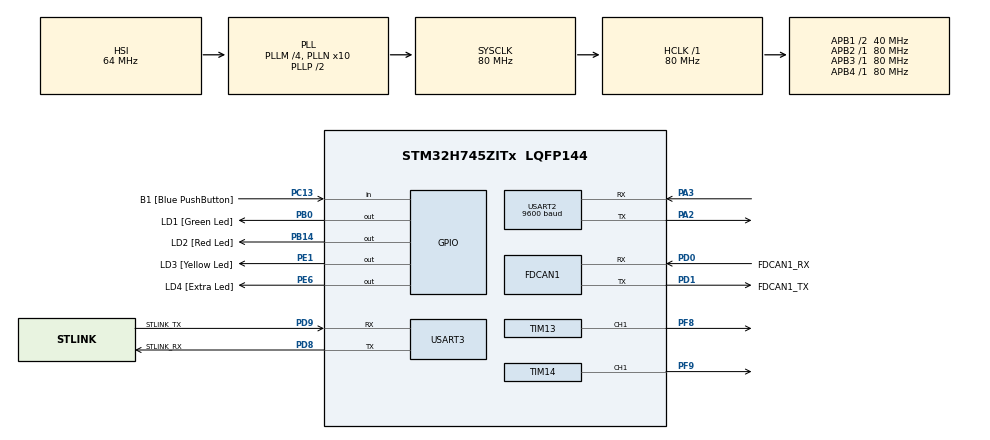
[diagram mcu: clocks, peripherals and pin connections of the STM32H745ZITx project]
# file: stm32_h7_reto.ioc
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CortexM4.IPs=BDMA,CORTEX_M4\:I,DEBUG,DMA,FATFS_M4\:I,FREERTOS_M4\:I,GPIO,IWDG2\:I,MDMA,NVIC2\:I,OPENAMP_M4\:I,PDM2PCM_M4\:I,PWR,RCC,RESMGR_UTILITY,SYS_M4\:I,USB_DEVICE_M4\:I,USB_HOST_M4\:I,VREFBUF,WWDG2\:I,USART3,TIM6\:I
CortexM4.Pins=PE1
CortexM7.IPs=BDMA\:I,CORTEX_M7\:I,DEBUG\:I,DMA\:I,FATFS_M7\:I,FREERTOS_M7\:I,GPIO\:I,IWDG1\:I,MDMA\:I,NVIC1\:I,OPENAMP_M7\:I,PDM2PCM_M7\:I,PWR\:I,RCC\:I,RESMGR_UTILITY\:I,SYS\:I,USB_DEVICE_M7\:I,USB_HOST_M7\:I,VREFBUF\:I,WWDG1\:I,USART3\:I,FDCAN1\:I,MEMORYMAP\:I,TIM13\:I,TIM14\:I,USART2\:I,TIM7\:I
CortexM7.Pins=PE6,PC13,PB0,PB14
FDCAN1.CalculateBaudRateNominal=500000
FDCAN1.CalculateTimeBitNominal=2000
FDCAN1.CalculateTimeQuantumNominal=50.0
FDCAN1.Mode=FDCAN_MODE_NORMAL
FDCAN1.NominalPrescaler=2
FDCAN1.NominalSyncJumpWidth=8
FDCAN1.NominalTimeSeg1=0x1F
FDCAN1.NominalTimeSeg2=8
FDCAN1.ProtocolException=ENABLE
FDCAN1.RxFifo0ElmtsNbr=50
FDCAN1.StdFiltersNbr=1
FDCAN1.TxFifoQueueElmtsNbr=1
FREERTOS_M4.Tasks01=defaultTask,24,128,StartDefaultTask,Default,NULL,Dynamic,NULL,NULL
FREERTOS_M4.configUSE_NEWLIB_REENTRANT=1
FREERTOS_M7.Tasks01=defaultTask,24,128,StartDefaultTask,Default,NULL,Dynamic,NULL,NULL
FREERTOS_M7.configUSE_NEWLIB_REENTRANT=1
Mcu.Family=STM32H7
Mcu.Name=STM32H745ZITx
Mcu.Package=LQFP144
NVIC1.PriorityGroup=NVIC_PRIORITYGROUP_4
NVIC1.TIM7_IRQn=true\:15\:0\:false\:false\:true\:false\:false\:true\:true
NVIC1.TimeBase=TIM7_IRQn
NVIC1.TimeBaseIP=TIM7
NVIC1.USART2_IRQn=true\:5\:0\:false\:false\:true\:true\:true\:true\:true
NVIC1.USART3_IRQn=true\:5\:0\:false\:false\:true\:true\:true\:true\:true
NVIC2.PriorityGroup=NVIC_PRIORITYGROUP_4
NVIC2.TIM6_DAC_IRQn=true\:15\:0\:false\:false\:true\:false\:false\:true\:true
NVIC2.TimeBase=TIM6_DAC_IRQn
NVIC2.TimeBaseIP=TIM6
PA13\ (JTMS/SWDIO).Mode=Serial_Wire
PA13\ (JTMS/SWDIO).PinAttribute=CortexM7
PA13\ (JTMS/SWDIO).Signal=DEBUG_JTMS-SWDIO
PA14\ (JTCK/SWCLK).Mode=Serial_Wire
PA14\ (JTCK/SWCLK).PinAttribute=CortexM7
PA14\ (JTCK/SWCLK).Signal=DEBUG_JTCK-SWCLK
PA2.Mode=Asynchronous
PA2.PinAttribute=CortexM7
PA2.Signal=USART2_TX
PA3.Mode=Asynchronous
PA3.PinAttribute=CortexM7
PA3.Signal=USART2_RX
PB0.GPIO_Label=LD1 [Green Led]
PB0.PinAttribute=CortexM7
PB0.Signal=GPIO_Output
PB14.GPIO_Label=LD2 [Red Led]
PB14.PinAttribute=CortexM7
PB14.Signal=GPIO_Output
PC13.GPIO_Label=B1 [Blue PushButton]
PC13.PinAttribute=CortexM7
PC13.Signal=GPIO_Input
PC14-OSC32_IN\ (OSC32_IN).Mode=LSE-External-Oscillator
PC14-OSC32_IN\ (OSC32_IN).PinAttribute=CortexM7
PC14-OSC32_IN\ (OSC32_IN).Signal=RCC_OSC32_IN
PC15-OSC32_OUT\ (OSC32_OUT).Mode=LSE-External-Oscillator
PC15-OSC32_OUT\ (OSC32_OUT).PinAttribute=CortexM7
PC15-OSC32_OUT\ (OSC32_OUT).Signal=RCC_OSC32_OUT
PD0.GPIO_Label=FDCAN1_RX
PD0.GPIO_Speed=GPIO_SPEED_FREQ_VERY_HIGH
PD0.Mode=FDCAN_Activate
PD0.PinAttribute=CortexM7
PD0.Signal=FDCAN1_RX
PD1.GPIO_Label=FDCAN1_TX
PD1.GPIO_PuPd=GPIO_PULLUP
PD1.GPIO_Speed=GPIO_SPEED_FREQ_VERY_HIGH
PD1.Mode=FDCAN_Activate
PD1.PinAttribute=CortexM7
PD1.Signal=FDCAN1_TX
PD8.GPIO_Label=STLINK_RX
PD8.Mode=Asynchronous
PD8.PinAttribute=CortexM7
PD8.Signal=USART3_TX
PD9.GPIO_Label=STLINK_TX
PD9.Mode=Asynchronous
PD9.PinAttribute=CortexM7
PD9.Signal=USART3_RX
PE1.GPIO_Label=LD3 [Yellow Led]
PE1.PinAttribute=CortexM4
PE1.Signal=GPIO_Output
PE6.GPIO_Label=LD4 [Extra Led]
PE6.PinAttribute=CortexM7
PE6.Signal=GPIO_Output
PF8.PinAttribute=CortexM7
PF8.Signal=S_TIM13_CH1
PF9.PinAttribute=CortexM7
PF9.Signal=S_TIM14_CH1
PH0-OSC_IN\ (PH0).Mode=HSE-External-Clock-Source
PH0-OSC_IN\ (PH0).PinAttribute=CortexM7
PH0-OSC_IN\ (PH0).Signal=RCC_OSC_IN
ProjectManager.HeapSize=M4-0x200,M7-0x200
ProjectManager.StackSize=M4-0x400,M7-0x400
ProjectManager.TargetToolchain=STM32CubeIDE
RCC.ADCFreq_Value=72000000
RCC.APB1Freq_Value=40000000
RCC.APB2Freq_Value=80000000
RCC.APB3Freq_Value=80000000
RCC.APB4Freq_Value=80000000
RCC.CortexFreq_Value=80000000
RCC.D2PPRE1=RCC_APB1_DIV2
RCC.DIVM1=4
RCC.DIVM2=4
RCC.DIVN1=10
RCC.DIVN2=9
RCC.DIVQ1=4
RCC.HCLKFreq_Value=80000000
RCC.HSE_VALUE=8000000
RCC.PLLFRACN=0
RCC.SYSCLKFreq_VALUE=80000000
RCC.SYSCLKSource=RCC_SYSCLKSOURCE_PLLCLK
RCC.SupplySource=PWR_DIRECT_SMPS_SUPPLY
RCC.USBFreq_Value=40000000
SH.S_TIM13_CH1.0=TIM13_CH1,PWM Generation1 CH1
SH.S_TIM14_CH1.0=TIM14_CH1,PWM Generation1 CH1
SYS.userName=SYS_M7
TIM13.Channel=TIM_CHANNEL_1
TIM13.Period=19999
TIM13.Prescaler=79
TIM13.Pulse=1500
TIM14.Channel=TIM_CHANNEL_1
TIM14.Period=19999
TIM14.Prescaler=79
TIM14.Pulse=1500
USART2.BaudRate=9600
USART2.VirtualMode-Asynchronous=VM_ASYNC
USART3.VirtualMode-Asynchronous=VM_ASYNC
VP_FREERTOS_M4_VS_CMSIS_V2.Mode=CMSIS_V2
VP_FREERTOS_M7_VS_CMSIS_V2.Mode=CMSIS_V2
VP_MEMORYMAP_VS_MEMORYMAP.Mode=CurAppReg
VP_SYS_M4_VS_tim6.Mode=TIM6
VP_SYS_VS_tim7.Mode=TIM7
VP_TIM13_VS_ClockSourceINT.Mode=Enable_Timer
VP_TIM14_VS_ClockSourceINT.Mode=Enable_Timer
board=custom

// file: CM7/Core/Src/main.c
/* USER CODE BEGIN Header */
/**
  ******************************************************************************
  * @file           : main.c
  * @brief          : Main program body
  ******************************************************************************
  * @attention
  *
  * Copyright (c) 2025 STMicroelectronics.
  * All rights reserved.
  *
  * This software is licensed under terms that can be found in the LICENSE file
  * in the root directory of this software component.
  * If no LICENSE file comes with this software, it is provided AS-IS.
  *
  ******************************************************************************
  */
/* USER CODE END Header */
#include "main.h"
#include "cmsis_os.h"
#include "robot_types.h"
#include "can.h"
#include "sensors.h"
#include "actuators.h"

/* USER CODE BEGIN Includes */
#include "myprintf.h"
#include <stdbool.h>
#include <string.h>
#include <ctype.h>
#include <stdlib.h>   // strtod
#include <errno.h>    // errno, ERANGE
#include <math.h>     // isfinite
#include <stdint.h>
/* USER CODE END Includes */

/* USER CODE BEGIN PD */

/* DUAL_CORE_BOOT_SYNC_SEQUENCE: Define for dual core boot synchronization    */
/*                             demonstration code based on hardware semaphore */
/* This define is present in both CM7/CM4 projects                            */
/* To comment when developping/debugging on a single core                     */
#define DUAL_CORE_BOOT_SYNC_SEQUENCE

#if defined(DUAL_CORE_BOOT_SYNC_SEQUENCE)
#ifndef HSEM_ID_0
#define HSEM_ID_0 (0U) /* HW semaphore 0*/
#endif
#endif /* DUAL_CORE_BOOT_SYNC_SEQUENCE */

/* USER CODE END PD */

FDCAN_HandleTypeDef hfdcan1;

TIM_HandleTypeDef htim13;
TIM_HandleTypeDef htim14;

UART_HandleTypeDef huart2;
UART_HandleTypeDef huart3;

/* Definitions for defaultTask */
osThreadId_t defaultTaskHandle;
const osThreadAttr_t defaultTask_attributes = {
  .name = "defaultTask",
  .stack_size = 1024 * 4,
  .priority = (osPriority_t) osPriorityNormal,
};
/* USER CODE BEGIN PV */
ControlMode currentMode = MODE_MANUAL;  // Default to manual
FDCAN_FilterTypeDef sFilterConfig;
FDCAN_TxHeaderTypeDef TxHeader;
FDCAN_RxHeaderTypeDef RxHeader;
uint8_t TxData[8] = {0x10, 0x34, 0x54, 0x76, 0x98, 0x00, 0x11, 0x22};
uint8_t RxData[8];

// Storage for latest CAN messages by ID
CANMessage latestMsgs[] = {
    {.id = 0x123, .length = 0, .timestamp = 0, .isExtended = false},  // Encoder
    {.id = 0x124, .length = 0, .timestamp = 0, .isExtended = false},  // Orientation
    {.id = 0x125, .length = 0, .timestamp = 0, .isExtended = false},  // Motor Control
    {.id = 0x126, .length = 0, .timestamp = 0, .isExtended = false},  // Angular Velocity
	{.id = 0x127, .length = 0, .timestamp = 0, .isExtended = false},   // Linear Acceleration
    {.id = 0x128, .length = 0, .timestamp = 0, .isExtended = false},   // Pseudo-GPS
    {.id = 0x129, .length = 0, .timestamp = 0, .isExtended = false}   // Waypoint2D
};
const uint8_t NUM_CAN_IDS = sizeof(latestMsgs) / sizeof(latestMsgs[0]);
/* USER CODE END PV */

void SystemClock_Config(void);
static void MX_GPIO_Init(void);
static void MX_USART3_UART_Init(void);
static void MX_FDCAN1_Init(void);
static void MX_TIM13_Init(void);
static void MX_TIM14_Init(void);
static void MX_USART2_UART_Init(void);
void StartDefaultTask(void *argument);

/* USER CODE BEGIN 0 */
void debugLoop() {
	float dbg_spd = 0.5f;
	float dbg_str = 0.0f;

	while (1) {
		SetEscSpeed(dbg_spd);
		Turning_SetAngle(dbg_str);
		StopCarEsc();
	}
}

// HELPERS
float unwrapAngle(float wrappedAngle) {
    static float unwrappedValue = 0.0f;
    static bool initialized = false;

    if (!initialized) {
        // First call - initialize with current angle
        unwrappedValue = wrappedAngle;
        initialized = true;
        return unwrappedValue;
    }

    // Calculate previous wrapped equivalent
    float wrappedPrev = fmodf(unwrappedValue, 360.0f);
    if (wrappedPrev < 0.0f) wrappedPrev += 360.0f;

    // Calculate delta with current reading
    float delta = wrappedAngle - wrappedPrev;

    // Normalize delta to [-180, 180]
    while (delta > 180.0f) delta -= 360.0f;
    while (delta < -180.0f) delta += 360.0f;

    // Update unwrapped value
    unwrappedValue += delta;

    return unwrappedValue;
}

void differentialToAckermann(float omega, bool reset, float* throttle, float* steering) {
    static int32_t baseEncoderPosition = 0;
    static bool movingForward = true;  // Current movement direction
    const int32_t danceAmplitude = 500;  // How far to move from baseline
    const float throttleStrength = 0.8f;  // Base throttle magnitude

    int32_t currentPosition = readEncoder();
    if (reset) {
        baseEncoderPosition = currentPosition;
        movingForward = true;  // Start by moving forward
    }

    int32_t delta = currentPosition - baseEncoderPosition;

    // Switch direction based on current position
    if (movingForward && delta >= danceAmplitude) {
        movingForward = false;
    } else if (!movingForward && delta <= -danceAmplitude) {
        movingForward = true;
    }

    // Set throttle based on direction
    *throttle = movingForward ? throttleStrength : -throttleStrength;
    *steering = movingForward ? omega : -omega;
}

void applyMotorControl(const MotorControl* control) {
    static bool differentialInitialized = false;

    if (control == NULL) return;

    float throttle, steering;

    // Check if omega is non-zero (use differential drive mode)
    if (control->omega != 0.0f) {
        // Use differential to Ackermann conversion
        differentialToAckermann(control->omega, !differentialInitialized, &throttle, &steering);
        differentialInitialized = true;
    } else {
        // Use direct steering and throttle commands
        throttle = control->throttle;
        steering = control->steering;
        differentialInitialized = false;  // Reset for next differential mode entry
    }

    // Apply to actuators
    Turning_SetAngle(steering);
    SetEscSpeed(throttle);
}

bool isWaypointReachable(float car_x, float car_y, float car_yaw, float wp_x, float wp_y) {
    // Calculate vector from car to waypoint
    float dx = wp_x - car_x;
    float dy = wp_y - car_y;

    // Calculate angle to waypoint in degrees
    float angle_to_waypoint = atan2f(dy, dx) * 180.0f / M_PI;

    // Normalize to 0-360 range
    while (angle_to_waypoint < 0) angle_to_waypoint += 360.0f;
    while (angle_to_waypoint >= 360.0f) angle_to_waypoint -= 360.0f;

    // Normalize car yaw to 0-360 range
    float car_yaw_norm = car_yaw;
    while (car_yaw_norm < 0) car_yaw_norm += 360.0f;
    while (car_yaw_norm >= 360.0f) car_yaw_norm -= 360.0f;

    // Calculate relative angle (-180 to +180)
    float relative_angle = angle_to_waypoint - car_yaw_norm;
    while (relative_angle > 180.0f) relative_angle -= 360.0f;
    while (relative_angle < -180.0f) relative_angle += 360.0f;

    // Check if within ±22.5° (front cone) or ±22.5° from 180° (back cone)
    bool front_reachable = (relative_angle >= -22.5f && relative_angle <= 22.5f);
    bool back_reachable = (relative_angle >= 157.5f || relative_angle <= -157.5f);

    return front_reachable || back_reachable;
}

MotorControl computeWaypointControl(const PseudoGPS* gps, const Waypoint2D* waypoint) {
    // Default: stopped
    MotorControl control = {0.0f, 0.0f, 0.0f};

    // Control parameters
    const float Kp = 0.05f;
    const float maxSteering = 0.85f;
    const float waypointRadius = 5.0f;
    const float movingThrottle = 0.8f;

    // Validate inputs
    if (gps == NULL || waypoint == NULL) {
        return control;
    }

    // Get unwrapped heading angle
    float unwrappedHeading = unwrapAngle(gps->w);

    // Calculate distance and angle to target waypoint
    float dx = waypoint->x - gps->x;
    float dy = waypoint->y - gps->y;
    float distance = sqrtf(dx * dx + dy * dy);
    float targetAngle = atan2f(dy, dx) * 180.0f / M_PI;

    // Check if waypoint is reachable
    bool reachable = isWaypointReachable(gps->x, gps->y, gps->w, waypoint->x, waypoint->y);

    // Calculate angle error (difference between car's heading and target angle)
    float angleError = targetAngle - unwrappedHeading;

    // Normalize angle error to [-180, 180]
    while (angleError > 180.0f) angleError -= 360.0f;
    while (angleError < -180.0f) angleError += 360.0f;

    // If we're within the waypoint radius, stop
    if (distance <= waypointRadius) {
        return control;  // Already at {0, 0, 0}
    }

    if (reachable) {
        // Waypoint is reachable - navigate towards it

        // Determine if we need to reverse
        bool shouldReverse = fabsf(angleError) > 90.0f;

        // When reversing, flip the angle error by 180° to point backwards
        if (shouldReverse) {
            if (angleError > 0.0f) {
                angleError -= 180.0f;
            } else {
                angleError += 180.0f;
            }
        }

        // Apply proportional control and invert direction
        control.steering = -Kp * angleError;

        // If reversing, invert steering (car steers opposite direction in reverse)
        if (shouldReverse) {
            control.steering = -control.steering;
        }

        // Clamp steering
        if (control.steering > maxSteering) control.steering = maxSteering;
        if (control.steering < -maxSteering) control.steering = -maxSteering;

        // Set throttle
        if (shouldReverse) {
            control.throttle = -movingThrottle;  // Reverse
        } else {
            control.throttle = movingThrottle;   // Forward
        }

    } else {
        // Waypoint is unreachable - spin in place to align

        // Calculate rotation needed to point front at waypoint
        float frontAngle = targetAngle - gps->w;
        while (frontAngle > 180.0f) frontAngle -= 360.0f;
        while (frontAngle < -180.0f) frontAngle += 360.0f;

        // Calculate rotation needed to point back at waypoint (add 180°)
        float backAngle = frontAngle + 180.0f;
        if (backAngle > 180.0f) backAngle -= 360.0f;
        if (backAngle < -180.0f) backAngle += 360.0f;

        // Choose the smaller rotation (front or back alignment)
        float relativeAngle;
        if (fabsf(frontAngle) <= fabsf(backAngle)) {
            relativeAngle = frontAngle;  // Align front to waypoint
        } else {
            relativeAngle = backAngle;   // Align back to waypoint
        }

        // Use differential drive to spin
        // Positive relativeAngle = waypoint is CCW, use negative omega (inverted)
        // Negative relativeAngle = waypoint is CW, use positive omega (inverted)
        control.omega = (relativeAngle > 0.0f) ? -0.7f : 0.7f;
    }

    return control;
}

// LOOP FUNCTIONS
void loopPrintAllCAN(void)
{
    FDCAN_RxHeaderTypeDef RxHeader;
    uint8_t RxData[64];  // safe for FD
    const uint32_t heartbeatIntervalMs = 1000;
    uint32_t lastHeartbeat = HAL_GetTick();

    printf("\n\r[CAN Monitor] Listening for messages...\n\r");

    while (1) {
        if (HAL_FDCAN_GetRxMessage(&hfdcan1, FDCAN_RX_FIFO0, &RxHeader, RxData) == HAL_OK) {
            uint32_t raw = RxHeader.DataLength;
            uint8_t len  = (raw <= 64) ? (uint8_t)raw          // HAL variant where DataLength == bytes
                                       : dlc_to_bytes(raw >> 16); // HAL variant with DLC<<16

            printf("ID: 0x%03lX | Type: %s | Len: %u | Data:",
                   (unsigned long)RxHeader.Identifier,
                   (RxHeader.IdType == FDCAN_STANDARD_ID ? "STD" : "EXT"),
                   (unsigned)len);

            for (uint8_t i = 0; i < len; i++) printf(" %02X", RxData[i]);
            printf("\n\r");
        }

        uint32_t now = HAL_GetTick();
        if ((uint32_t)(now - lastHeartbeat) >= heartbeatIntervalMs) {
            printf("[CAN Monitor] Heartbeat... system alive (%lu ms)\n\r", (unsigned long)now);
            lastHeartbeat = now;
        }
        HAL_Delay(1);
    }
}

void loopSpinInPlace(void) {
    const float omega = 0.7f;  // Spinning factor
    bool firstCall = true;

    printf("\n\r[Spin In Place] Starting with omega=%.2f...\n\r", omega);

    while (1) {
        float throttle, steering;

        // Call differential to Ackermann converter
        differentialToAckermann(omega, firstCall, &throttle, &steering);
        firstCall = false;

        // Apply to actuators
        Turning_SetAngle(steering);
        SetEscSpeed(throttle);

        // Drain CAN messages
        drainAndUpdateCANMessages();

        HAL_Delay(10);
    }
}

void loopPrintAll(void *argument) {
    const uint32_t printIntervalMs = 100;
    const uint32_t heartbeatIntervalMs = 1000;
    uint32_t lastPrint = HAL_GetTick();
    uint32_t lastHeartbeat = HAL_GetTick();

    printf("\n\r[Combined Monitor] Starting...\n\r");

    while (1)
    {
        uint32_t now = HAL_GetTick();

        // Drain CAN FIFO once per loop iteration
        drainAndUpdateCANMessages();

        // Read current position
        PseudoGPS gps;
        bool hasGPS = readPseudoGPS(&gps);

        // Read motor control and waypoint commands
        MotorControl control = {0.0f, 0.0f, 0.0f};
        readMotorControl(&control);

        Waypoint2D waypoint;
        readWaypoint2D(&waypoint);

        // Apply control based on current mode
        if (currentMode == MODE_WAYPOINT && hasGPS) {
            // Navigate to waypoint
            control = computeWaypointControl(&gps, &waypoint);
        }

        // Apply motor control (handles both manual and waypoint modes)
        applyMotorControl(&control);

        // 2) Periodically print all values
        if (now - lastPrint >= printIntervalMs)
        {
            int32_t encoderCount = readEncoder();

            printf("Enc:%8ld | ", (long)encoderCount);

            if (hasGPS) {
                printf("GPS X:%5.0f Y:%5.0f W:%5.0f | ", gps.x, gps.y, gps.w);
            } else {
                printf("GPS:[No data] | ");
            }

            printf("T:%+5.2f S:%+5.2f W:%+5.2f | ", control.throttle, control.steering, control.omega);
            printf("WP X:%5.1f Y:%5.1f O:%5.1f | ", waypoint.x, waypoint.y, waypoint.omega);
            printf("Mode:%s\n\r", (currentMode == MODE_MANUAL) ? "MAN" : "WAY");

            lastPrint = now;
        }

        // 3) Heartbeat every second
        if (now - lastHeartbeat >= heartbeatIntervalMs)
        {
            printf("[Combined Monitor] Alive (%lu ms)\n\r", (unsigned long)now);
            lastHeartbeat = now;
        }

        HAL_Delay(1);
    }
}

void navigationLoop(void) {
    const uint32_t printIntervalMs = 1000;
    uint32_t lastPrint = HAL_GetTick();

    // Default waypoint: center position (90, 60)
    Waypoint2D target = {90.0f, 60.0f, 0.0f};

    printf("\n\r[Navigation Loop] Starting with default waypoint (90, 60)...\n\r");

    while (1) {
        uint32_t now = HAL_GetTick();

        // Drain CAN FIFO once per loop iteration
        drainAndUpdateCANMessages();

        // Read current position
        PseudoGPS gps;
        bool hasGPS = readPseudoGPS(&gps);

        // Check for external waypoint commands (overrides default)
        Waypoint2D externalWaypoint;
        if (readWaypoint2D(&externalWaypoint)) {
            target = externalWaypoint;  // Override with external waypoint
        }

        // Compute navigation control
        MotorControl control = {0.0f, 0.0f, 0.0f};
        if (hasGPS) {
            control = computeWaypointControl(&gps, &target);
        }

        // Apply motor control (handles both direct and differential drive modes)
        applyMotorControl(&control);

        // LED: ON when using omega (unreachable), OFF otherwise
        bool spinning = (control.omega != 0.0f);
        HAL_GPIO_WritePin(LD4_GPIO_Port, LD4_Pin, spinning ? GPIO_PIN_SET : GPIO_PIN_RESET);

        // Periodic debug print
        if (now - lastPrint >= printIntervalMs) {
            if (hasGPS) {
                float dx = target.x - gps.x;
                float dy = target.y - gps.y;
                float distance = sqrtf(dx * dx + dy * dy);

                printf("Pos: (%.1f, %.1f) Heading: %.1f° | Target: (%.1f, %.1f) | Dist: %.1f | Thr: %+.2f Str: %+.3f Omg: %+.2f\n\r",
                       gps.x, gps.y, gps.w, target.x, target.y, distance, control.throttle, control.steering, control.omega);
            } else {
                printf("GPS: [No data]\n\r");
            }
            lastPrint = now;
        }

        HAL_Delay(10);  // 100 Hz update rate
    }
}

/* USER CODE END 0 */

int main(void)
{

/* USER CODE BEGIN Boot_Mode_Sequence_0 */
#if defined(DUAL_CORE_BOOT_SYNC_SEQUENCE)
  int32_t timeout;
#endif /* DUAL_CORE_BOOT_SYNC_SEQUENCE */
/* USER CODE END Boot_Mode_Sequence_0 */

/* USER CODE BEGIN Boot_Mode_Sequence_1 */
#if defined(DUAL_CORE_BOOT_SYNC_SEQUENCE)
  /* Wait until CPU2 boots and enters in stop mode or timeout*/
  timeout = 0xFFFF;
//  while((__HAL_RCC_GET_FLAG(RCC_FLAG_D2CKRDY) != RESET) && (timeout-- > 0));
  if ( timeout < 0 )
  {
  Error_Handler();
  }
#endif /* DUAL_CORE_BOOT_SYNC_SEQUENCE */
/* USER CODE END Boot_Mode_Sequence_1 */
  /* MCU Configuration--------------------------------------------------------*/

  /* Reset of all peripherals, Initializes the Flash interface and the Systick. */
  HAL_Init();

  /* Configure the system clock */
  SystemClock_Config();
/* USER CODE BEGIN Boot_Mode_Sequence_2 */
#if defined(DUAL_CORE_BOOT_SYNC_SEQUENCE)
/* When system initialization is finished, Cortex-M7 will release Cortex-M4 by means of
HSEM notification */
/*HW semaphore Clock enable*/
__HAL_RCC_HSEM_CLK_ENABLE();
/*Take HSEM */
HAL_HSEM_FastTake(HSEM_ID_0);
/*Release HSEM in order to notify the CPU2(CM4)*/
HAL_HSEM_Release(HSEM_ID_0,0);
/* wait until CPU2 wakes up from stop mode */
timeout = 0xFFFF;
while((__HAL_RCC_GET_FLAG(RCC_FLAG_D2CKRDY) == RESET) && (timeout-- > 0));
if ( timeout < 0 )
{
Error_Handler();
}
#endif /* DUAL_CORE_BOOT_SYNC_SEQUENCE */
/* USER CODE END Boot_Mode_Sequence_2 */

  /* Initialize all configured peripherals */
  MX_GPIO_Init();
  MX_USART3_UART_Init();
  MX_FDCAN1_Init();
  MX_TIM13_Init();
  MX_TIM14_Init();
  MX_USART2_UART_Init();
  /* USER CODE BEGIN 2 */
  HAL_TIM_PWM_Start(&htim13, TIM_CHANNEL_1);
  HAL_TIM_PWM_Start(&htim14, TIM_CHANNEL_1);
  Turning_SetAngle(0);
  SetEscSpeed(0);
  HAL_Delay(500);
//  loopPrintAllCAN();
//  loopPrintAll();
//    navigationLoop();
//  loopSpinInPlace();
  /* USER CODE END 2 */

  /* Init scheduler */
  osKernelInitialize();

  /* Create the thread(s) */
  /* creation of defaultTask */
  defaultTaskHandle = osThreadNew(loopPrintAll, NULL, &defaultTask_attributes);

  /* Start scheduler */
  osKernelStart();

  /* We should never get here as control is now taken by the scheduler */

  /* Infinite loop */
  while (1)
  {

  }
}

void SystemClock_Config(void)
{
  RCC_OscInitTypeDef RCC_OscInitStruct = {0};
  RCC_ClkInitTypeDef RCC_ClkInitStruct = {0};

  /** Supply configuration update enable
  */
  HAL_PWREx_ConfigSupply(PWR_DIRECT_SMPS_SUPPLY);

  /** Configure the main internal regulator output voltage
  */
  __HAL_PWR_VOLTAGESCALING_CONFIG(PWR_REGULATOR_VOLTAGE_SCALE3);

  while(!__HAL_PWR_GET_FLAG(PWR_FLAG_VOSRDY)) {}

  /** Initializes the RCC Oscillators according to the specified parameters
  * in the RCC_OscInitTypeDef structure.
  */
  RCC_OscInitStruct.OscillatorType = RCC_OSCILLATORTYPE_HSI;
  RCC_OscInitStruct.HSIState = RCC_HSI_DIV1;
  RCC_OscInitStruct.HSICalibrationValue = RCC_HSICALIBRATION_DEFAULT;
  RCC_OscInitStruct.PLL.PLLState = RCC_PLL_ON;
  RCC_OscInitStruct.PLL.PLLSource = RCC_PLLSOURCE_HSI;
  RCC_OscInitStruct.PLL.PLLM = 4;
  RCC_OscInitStruct.PLL.PLLN = 10;
  RCC_OscInitStruct.PLL.PLLP = 2;
  RCC_OscInitStruct.PLL.PLLQ = 4;
  RCC_OscInitStruct.PLL.PLLR = 2;
  RCC_OscInitStruct.PLL.PLLRGE = RCC_PLL1VCIRANGE_3;
  RCC_OscInitStruct.PLL.PLLVCOSEL = RCC_PLL1VCOMEDIUM;
  RCC_OscInitStruct.PLL.PLLFRACN = 0;
  if (HAL_RCC_OscConfig(&RCC_OscInitStruct) != HAL_OK)
  {
    Error_Handler();
  }

  /** Initializes the CPU, AHB and APB buses clocks
  */
  RCC_ClkInitStruct.ClockType = RCC_CLOCKTYPE_HCLK|RCC_CLOCKTYPE_SYSCLK
                              |RCC_CLOCKTYPE_PCLK1|RCC_CLOCKTYPE_PCLK2
                              |RCC_CLOCKTYPE_D3PCLK1|RCC_CLOCKTYPE_D1PCLK1;
  RCC_ClkInitStruct.SYSCLKSource = RCC_SYSCLKSOURCE_PLLCLK;
  RCC_ClkInitStruct.SYSCLKDivider = RCC_SYSCLK_DIV1;
  RCC_ClkInitStruct.AHBCLKDivider = RCC_HCLK_DIV1;
  RCC_ClkInitStruct.APB3CLKDivider = RCC_APB3_DIV1;
  RCC_ClkInitStruct.APB1CLKDivider = RCC_APB1_DIV2;
  RCC_ClkInitStruct.APB2CLKDivider = RCC_APB2_DIV1;
  RCC_ClkInitStruct.APB4CLKDivider = RCC_APB4_DIV1;

  if (HAL_RCC_ClockConfig(&RCC_ClkInitStruct, FLASH_LATENCY_1) != HAL_OK)
  {
    Error_Handler();
  }
}

static void MX_FDCAN1_Init(void)
{

  hfdcan1.Instance = FDCAN1;
  hfdcan1.Init.FrameFormat = FDCAN_FRAME_CLASSIC;
  hfdcan1.Init.Mode = FDCAN_MODE_NORMAL;
  hfdcan1.Init.AutoRetransmission = DISABLE;
  hfdcan1.Init.TransmitPause = DISABLE;
  hfdcan1.Init.ProtocolException = ENABLE;
  hfdcan1.Init.NominalPrescaler = 2;
  hfdcan1.Init.NominalSyncJumpWidth = 8;
  hfdcan1.Init.NominalTimeSeg1 = 0x1F;
  hfdcan1.Init.NominalTimeSeg2 = 8;
  hfdcan1.Init.DataPrescaler = 1;
  hfdcan1.Init.DataSyncJumpWidth = 1;
  hfdcan1.Init.DataTimeSeg1 = 1;
  hfdcan1.Init.DataTimeSeg2 = 1;
  hfdcan1.Init.MessageRAMOffset = 0;
  hfdcan1.Init.StdFiltersNbr = 1;
  hfdcan1.Init.ExtFiltersNbr = 0;
  hfdcan1.Init.RxFifo0ElmtsNbr = 50;
  hfdcan1.Init.RxFifo0ElmtSize = FDCAN_DATA_BYTES_8;
  hfdcan1.Init.RxFifo1ElmtsNbr = 0;
  hfdcan1.Init.RxFifo1ElmtSize = FDCAN_DATA_BYTES_8;
  hfdcan1.Init.RxBuffersNbr = 0;
  hfdcan1.Init.RxBufferSize = FDCAN_DATA_BYTES_8;
  hfdcan1.Init.TxEventsNbr = 0;
  hfdcan1.Init.TxBuffersNbr = 0;
  hfdcan1.Init.TxFifoQueueElmtsNbr = 1;
  hfdcan1.Init.TxFifoQueueMode = FDCAN_TX_FIFO_OPERATION;
  hfdcan1.Init.TxElmtSize = FDCAN_DATA_BYTES_8;
  if (HAL_FDCAN_Init(&hfdcan1) != HAL_OK)
  {
    Error_Handler();
  }
  /* USER CODE BEGIN FDCAN1_Init 2 */
  /*AAO+*/
          sFilterConfig.IdType = FDCAN_STANDARD_ID;
          sFilterConfig.FilterIndex = 0;
          sFilterConfig.FilterType = FDCAN_FILTER_MASK;
          sFilterConfig.FilterConfig = FDCAN_FILTER_TO_RXFIFO0;
          sFilterConfig.FilterID1 = 0x000;   // base ID (don't care)
          sFilterConfig.FilterID2 = 0x000;   // mask = 0 → accept all messages

          /* Configure global filter to reject all non-matching frames */
          HAL_FDCAN_ConfigGlobalFilter(&hfdcan1, FDCAN_REJECT, FDCAN_REJECT,
                                       FDCAN_REJECT_REMOTE, FDCAN_REJECT_REMOTE);

          if (HAL_FDCAN_ConfigFilter(&hfdcan1, &sFilterConfig) != HAL_OK)
            {
               /* Filter configuration Error */
               Error_Handler();
            }
           /* Start the FDCAN module */
          if (HAL_FDCAN_Start(&hfdcan1) != HAL_OK) {
            }
               /* Start Error */
          if (HAL_FDCAN_ActivateNotification(&hfdcan1, FDCAN_IT_RX_FIFO0_NEW_MESSAGE, 0) != HAL_OK) {
            }
               /* Notification Error */

           /* Configure Tx buffer message */
          TxHeader.Identifier = 0x111;
          TxHeader.IdType = FDCAN_STANDARD_ID;
          TxHeader.TxFrameType = FDCAN_DATA_FRAME;
          TxHeader.DataLength = FDCAN_DLC_BYTES_12;
          TxHeader.ErrorStateIndicator = FDCAN_ESI_ACTIVE;
          TxHeader.BitRateSwitch = FDCAN_BRS_ON;
          TxHeader.FDFormat = FDCAN_FD_CAN;
          TxHeader.TxEventFifoControl = FDCAN_NO_TX_EVENTS;
          TxHeader.MessageMarker = 0x00;
         /*AAO-*/
  /* USER CODE END FDCAN1_Init 2 */

}

static void MX_TIM13_Init(void)
{

  TIM_OC_InitTypeDef sConfigOC = {0};

  htim13.Instance = TIM13;
  htim13.Init.Prescaler = 79;
  htim13.Init.CounterMode = TIM_COUNTERMODE_UP;
  htim13.Init.Period = 19999;
  htim13.Init.ClockDivision = TIM_CLOCKDIVISION_DIV1;
  htim13.Init.AutoReloadPreload = TIM_AUTORELOAD_PRELOAD_DISABLE;
  if (HAL_TIM_Base_Init(&htim13) != HAL_OK)
  {
    Error_Handler();
  }
  if (HAL_TIM_PWM_Init(&htim13) != HAL_OK)
  {
    Error_Handler();
  }
  sConfigOC.OCMode = TIM_OCMODE_PWM1;
  sConfigOC.Pulse = 1500;
  sConfigOC.OCPolarity = TIM_OCPOLARITY_HIGH;
  sConfigOC.OCFastMode = TIM_OCFAST_DISABLE;
  if (HAL_TIM_PWM_ConfigChannel(&htim13, &sConfigOC, TIM_CHANNEL_1) != HAL_OK)
  {
    Error_Handler();
  }
  HAL_TIM_MspPostInit(&htim13);

}

static void MX_TIM14_Init(void)
{

  TIM_OC_InitTypeDef sConfigOC = {0};

  htim14.Instance = TIM14;
  htim14.Init.Prescaler = 79;
  htim14.Init.CounterMode = TIM_COUNTERMODE_UP;
  htim14.Init.Period = 19999;
  htim14.Init.ClockDivision = TIM_CLOCKDIVISION_DIV1;
  htim14.Init.AutoReloadPreload = TIM_AUTORELOAD_PRELOAD_DISABLE;
  if (HAL_TIM_Base_Init(&htim14) != HAL_OK)
  {
    Error_Handler();
  }
  if (HAL_TIM_PWM_Init(&htim14) != HAL_OK)
  {
    Error_Handler();
  }
  sConfigOC.OCMode = TIM_OCMODE_PWM1;
  sConfigOC.Pulse = 1500;
  sConfigOC.OCPolarity = TIM_OCPOLARITY_HIGH;
  sConfigOC.OCFastMode = TIM_OCFAST_DISABLE;
  if (HAL_TIM_PWM_ConfigChannel(&htim14, &sConfigOC, TIM_CHANNEL_1) != HAL_OK)
  {
    Error_Handler();
  }
  HAL_TIM_MspPostInit(&htim14);

}

static void MX_USART2_UART_Init(void)
{

  huart2.Instance = USART2;
  huart2.Init.BaudRate = 9600;
  huart2.Init.WordLength = UART_WORDLENGTH_8B;
  huart2.Init.StopBits = UART_STOPBITS_1;
  huart2.Init.Parity = UART_PARITY_NONE;
  huart2.Init.Mode = UART_MODE_TX_RX;
  huart2.Init.HwFlowCtl = UART_HWCONTROL_NONE;
  huart2.Init.OverSampling = UART_OVERSAMPLING_16;
  huart2.Init.OneBitSampling = UART_ONE_BIT_SAMPLE_DISABLE;
  huart2.Init.ClockPrescaler = UART_PRESCALER_DIV1;
  huart2.AdvancedInit.AdvFeatureInit = UART_ADVFEATURE_NO_INIT;
  if (HAL_UART_Init(&huart2) != HAL_OK)
  {
    Error_Handler();
  }
  if (HAL_UARTEx_SetTxFifoThreshold(&huart2, UART_TXFIFO_THRESHOLD_1_8) != HAL_OK)
  {
    Error_Handler();
  }
  if (HAL_UARTEx_SetRxFifoThreshold(&huart2, UART_RXFIFO_THRESHOLD_1_8) != HAL_OK)
  {
    Error_Handler();
  }
  if (HAL_UARTEx_DisableFifoMode(&huart2) != HAL_OK)
  {
    Error_Handler();
  }

}

static void MX_USART3_UART_Init(void)
{

  huart3.Instance = USART3;
  huart3.Init.BaudRate = 115200;
  huart3.Init.WordLength = UART_WORDLENGTH_8B;
  huart3.Init.StopBits = UART_STOPBITS_1;
  huart3.Init.Parity = UART_PARITY_NONE;
  huart3.Init.Mode = UART_MODE_TX_RX;
  huart3.Init.HwFlowCtl = UART_HWCONTROL_NONE;
  huart3.Init.OverSampling = UART_OVERSAMPLING_16;
  huart3.Init.OneBitSampling = UART_ONE_BIT_SAMPLE_DISABLE;
  huart3.Init.ClockPrescaler = UART_PRESCALER_DIV1;
  huart3.AdvancedInit.AdvFeatureInit = UART_ADVFEATURE_NO_INIT;
  if (HAL_UART_Init(&huart3) != HAL_OK)
  {
    Error_Handler();
  }
  if (HAL_UARTEx_SetTxFifoThreshold(&huart3, UART_TXFIFO_THRESHOLD_1_8) != HAL_OK)
  {
    Error_Handler();
  }
  if (HAL_UARTEx_SetRxFifoThreshold(&huart3, UART_RXFIFO_THRESHOLD_1_8) != HAL_OK)
  {
    Error_Handler();
  }
  if (HAL_UARTEx_DisableFifoMode(&huart3) != HAL_OK)
  {
    Error_Handler();
  }

}

static void MX_GPIO_Init(void)
{
  GPIO_InitTypeDef GPIO_InitStruct = {0};

  /* GPIO Ports Clock Enable */
  __HAL_RCC_GPIOE_CLK_ENABLE();
  __HAL_RCC_GPIOC_CLK_ENABLE();
  __HAL_RCC_GPIOF_CLK_ENABLE();
  __HAL_RCC_GPIOH_CLK_ENABLE();
  __HAL_RCC_GPIOA_CLK_ENABLE();
  __HAL_RCC_GPIOB_CLK_ENABLE();
  __HAL_RCC_GPIOD_CLK_ENABLE();

  /*Configure GPIO pin Output Level */
  HAL_GPIO_WritePin(LD4_GPIO_Port, LD4_Pin, GPIO_PIN_RESET);

  /*Configure GPIO pin Output Level */
  HAL_GPIO_WritePin(GPIOB, LD1_Pin|LD2_Pin, GPIO_PIN_RESET);

  /*Configure GPIO pin : LD4_Pin */
  GPIO_InitStruct.Pin = LD4_Pin;
  GPIO_InitStruct.Mode = GPIO_MODE_OUTPUT_PP;
  GPIO_InitStruct.Pull = GPIO_NOPULL;
  GPIO_InitStruct.Speed = GPIO_SPEED_FREQ_LOW;
  HAL_GPIO_Init(LD4_GPIO_Port, &GPIO_InitStruct);

  /*Configure GPIO pin : B1_Pin */
  GPIO_InitStruct.Pin = B1_Pin;
  GPIO_InitStruct.Mode = GPIO_MODE_INPUT;
  GPIO_InitStruct.Pull = GPIO_NOPULL;
  HAL_GPIO_Init(B1_GPIO_Port, &GPIO_InitStruct);

  /*Configure GPIO pins : LD1_Pin LD2_Pin */
  GPIO_InitStruct.Pin = LD1_Pin|LD2_Pin;
  GPIO_InitStruct.Mode = GPIO_MODE_OUTPUT_PP;
  GPIO_InitStruct.Pull = GPIO_NOPULL;
  GPIO_InitStruct.Speed = GPIO_SPEED_FREQ_LOW;
  HAL_GPIO_Init(GPIOB, &GPIO_InitStruct);

}

void StartDefaultTask(void *argument)
{
  for(;;)
  {
    osDelay(1);
  }
}

void HAL_TIM_PeriodElapsedCallback(TIM_HandleTypeDef *htim)
{
  if (htim->Instance == TIM7)
  {
    HAL_IncTick();
  }
}

void Error_Handler(void)
{
  __disable_irq();
  while (1)
  {
  }
}
